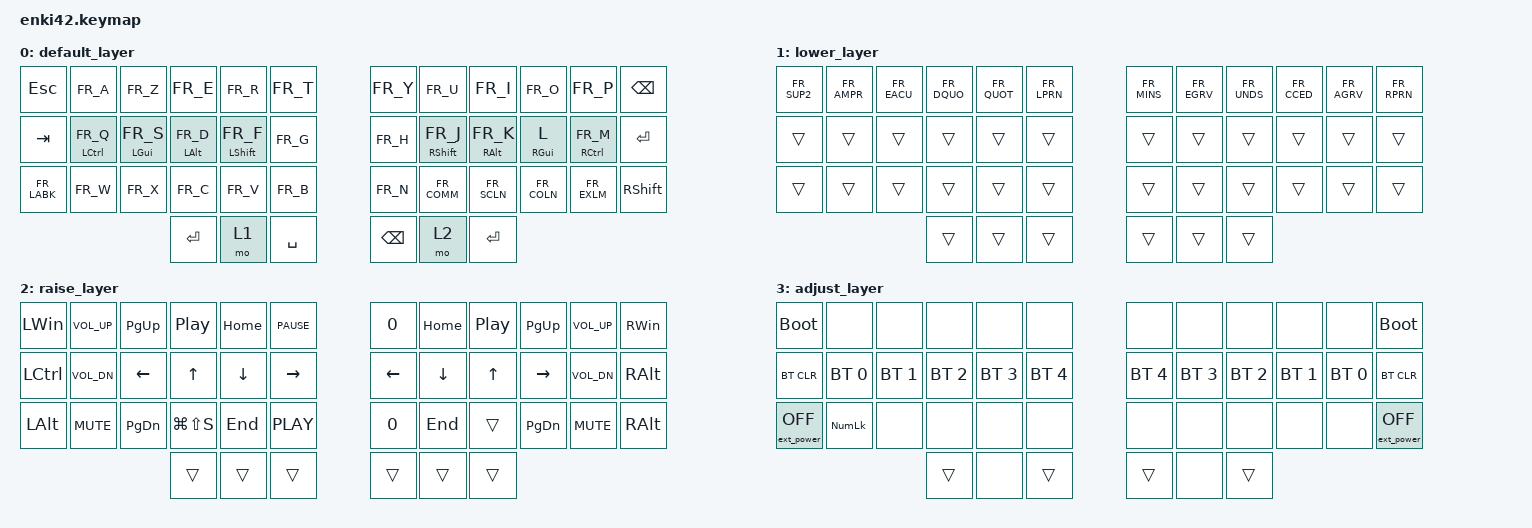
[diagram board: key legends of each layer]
/*
 * Copyright (c) 2020 The ZMK Contributors
 *
 * SPDX-License-Identifier: MIT
 */

#include <behaviors.dtsi>
#include <dt-bindings/zmk/bt.h>
#include <dt-bindings/zmk/ext_power.h>
#include <dt-bindings/zmk/keys.h>

#include "keymap_french.h"


&lt { quick_tap_ms = <220>; };

&mt { quick_tap_ms = <220>; };


/ {
    behaviors {
        hm: homerow_mods {
            compatible = "zmk,behavior-hold-tap";
            #binding-cells = <2>;
            tapping-term-ms = <200>;
            quick-tap-ms = <0>;
            flavor = "tap-preferred";
            bindings = <&kp>, <&kp>;
        };
    };

    keymap {
        compatible = "zmk,keymap";

        default_layer {
            // ------------------------------------------------------------------------------------------------
            //| ESCAPE |  A  |  W  |  E  |  R  |  T  |   |  Y  |  U   |  I  |  O  |  P  | DEL | 
            //| LEFT_SHIFT |  A  |  S  |  D  |  F  |  G  |   |  H  |  J   |  K  |  L  |  M  | ENTER |
            //| RCTRL |  Z  |  X  |  C  |  V  |  B  |   |  N  |  ,   |  ;  |  :  |  !  | RIGHT_SHIFT |
            //                             | ENTER | 1 | SPACE |   | BACKSPACE | 2 | DEL |

            bindings = <
&kp ESCAPE &kp FR_A &kp FR_Z &kp FR_E &kp FR_R &kp FR_T &kp FR_Y &kp FR_U &kp FR_I &kp FR_O &kp FR_P &kp BACKSPACE
&kp TAB  &hm LCTRL FR_Q  &hm LGUI FR_S  &hm LALT FR_D         &hm LSHIFT FR_F &kp FR_G &kp FR_H &hm RSHIFT FR_J &hm RALT FR_K &hm RGUI L &hm RCTRL FR_M &kp ENTER
&kp FR_LABK &kp FR_W &kp FR_X &kp FR_C &kp FR_V &kp FR_B &kp FR_N &kp FR_COMM &kp FR_SCLN &kp FR_COLN &kp FR_EXLM &kp RIGHT_SHIFT
                                            &kp ENTER  &mo 1 &kp SPACE &kp BACKSPACE  &mo 2 &kp ENTER
            >;
        };

        lower_layer {
            // -----------------------------------------------------------------------------------------
            //|  ²      |  &        |  é        |  "     |  '       |  (        | -         |  è  |  _  |  ç  |  à  |  )  | = |
            //|  ___    |  FR_1     |  FR_2     |  FR_3  |  FR_4    |  FR_5     |  FR_6     |  FR_7  |  FR_8  |  FR_9  |  FR_0  |  )  | CTRL/F2 |
            //|  ___    |  >        |  1        |  4     |  3       |  .        |           |  ls |  F4 |  F5 |  F6 |  F7 | RALT/F3 |
            //                      | ADJ | ___ | ___ |    | ___ | ___ | ADJ |

            bindings = <
&kp FR_SUP2 &kp FR_AMPR &kp FR_EACU &kp FR_DQUO &kp FR_QUOT &kp FR_LPRN &kp FR_MINS &kp FR_EGRV &kp FR_UNDS &kp FR_CCED &kp FR_AGRV &kp FR_RPRN 
&trans &trans &trans &trans &trans &trans           &trans &trans  &trans  &trans &trans  &trans
&trans &trans &trans &trans &trans &trans &trans &trans &trans &trans &trans &trans
                                          &trans &trans &trans &trans &trans &trans
            >;
        };

        raise_layer {
            // -----------------------------------------------------------------------------------------
            //| LGUI |  VOLU  |  PGUP  | PLAY | HOME | ___  |            | ___  | HOME | PLAY| PGUP | VOLU | RGUI |
            //| CTRL |  VOLD  |  LEFT  |  UP  | DOWN | RGHT |            | RGHT | DOWN | UP  | LEFT | VOLD | CTRL | 
            //| LALT |  MUTE  |  PGDN  |  ___ | END  | ___  |            | ___  | END  | ___ | PGDN | MUTE | RALT |
            //                          | ___ | ___  | ADJ  |            | ADJ  | ___  | ___ |

            bindings = <
&kp LWIN &kp C_VOL_UP &kp PG_UP &kp C_PP &kp HOME &kp C_PAUSE &kp N0 &kp HOME &kp C_PP &kp PG_UP &kp C_VOL_UP &kp RWIN
&kp LCTRL &kp C_VOL_DN &kp LEFT &kp UP &kp DOWN &kp RIGHT &kp LEFT &kp DOWN &kp UP &kp RIGHT &kp C_VOL_DN &kp RALT
&kp LALT &kp C_MUTE &kp PG_DN &kp LG(LS(S)) &kp END &kp C_PLAY &kp N0 &kp END   &trans &kp PG_DN &kp C_MUTE &kp RALT
                                    &trans &trans &trans &trans &trans &trans
            >;
        };

        adjust_layer {
            // -----------------------------------------------------------------------------------------
            //| BLDR |     |     |     |     |     |   |     |     |     |     |     | BLDR |
            //| BTCLR| BT0 | BT1 | BT2 | BT3 | BT4 |   | BT4 | BT3 | BT2 | BT1 | BT0 | BTCLR|
            //|pwrOFF|NUMLK|     |     |     |     |   |     |     |     |     |     |      |
            //                   |     |     |     |   |     |     |     |

            bindings = <
&bootloader        &none         &none         &none         &none         &none         &none         &none         &none         &none         &none         &bootloader
&bt BT_CLR         &bt BT_SEL 0  &bt BT_SEL 1  &bt BT_SEL 2  &bt BT_SEL 3  &bt BT_SEL 4  &bt BT_SEL 4  &bt BT_SEL 3  &bt BT_SEL 2  &bt BT_SEL 1  &bt BT_SEL 0  &bt BT_CLR
&ext_power EP_OFF &kp KP_NUM    &none         &none         &none         &none         &none         &none         &none         &none         &none         &ext_power EP_OFF
                                               &trans &none         &trans &trans &none         &trans
            >;
        };
    };
};
